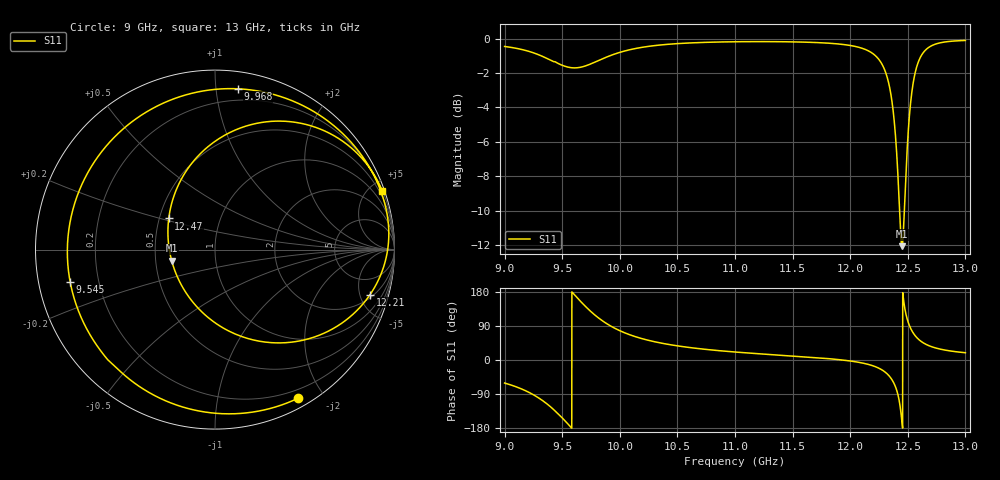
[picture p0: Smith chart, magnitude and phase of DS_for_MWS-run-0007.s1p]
! TOUCHSTONE file generated by CST DESIGN STUDIO
! Date and time: Tue Feb  4 16:38:42 2025
! Project name: C:\Work\MatlabApps\UnitCellOptimizationMatlab\CST\unitcell.cst
! Tree item: Tasks\Sweep1\SPara1\S-Parameters
! Header version: 2024
! Port assignment regex: !\s*Touchstone port\s*([0-9]+)\s*=\s*(CST MWS port|CST DES external port|CST DES block port)\s*(.+)\s* \(\"(.*)\"\)(\s*mode\s*([0-9]+))?.*
! Touchstone port assignment:
! Touchstone port 1 = CST DES external port 1 ("")
# GHz S MA R 50
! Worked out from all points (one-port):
!   4001 points, 9 GHz to 13 GHz, reference 50 ohm
!   lowest |S11| = -12.1 dB at 12.45 GHz (marker M1), VSWR 1.66, Z = 30.4 - j4.05 ohm
!   |S11| at or under -10 dB: 12.42872 GHz to 12.46997 GHz (41.24 MHz wide, 0.331 % of centre)
!   S11 on the Smith chart (normalised r, x): 9 GHz: 0.10, -1.70; 9.545 GHz: 0.10, -0.11; 9.968 GHz: 0.12, +1.14; 12.21 GHz: 2.34, -6.15; 12.47 GHz: 0.56, +0.22; 13 GHz: 0.23, +5.91
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9  0.9486 -60.8
9.152  0.9292 -77.0
9.302  0.8956 -101.4
9.4  0.8647 -123.8
9.5  0.8364 -152.7
9.545  0.8269 -167.3
9.641  0.8234 160.7
9.757  0.8466 125.6
9.853  0.8745 102.6
9.968  0.9048 82.0
10  0.9119 77.3
10.217  0.9459 54.4
10.5  0.9668 37.3
11  0.979 21.1
11.5  0.9783 10.5
12  0.955 -2.6
12.206  0.8995 -16.2
12.306  0.8 -32.6
12.377  0.5992 -59.7
12.414  0.4023 -91.1
12.45  0.2492 -165.5
12.469  0.3107 146.0
12.5  0.5129 102.8
12.556  0.773 67.3
12.604  0.875 51.8
12.662  0.9316 40.7
12.788  0.9732 28.3
13  0.9875 19.2
